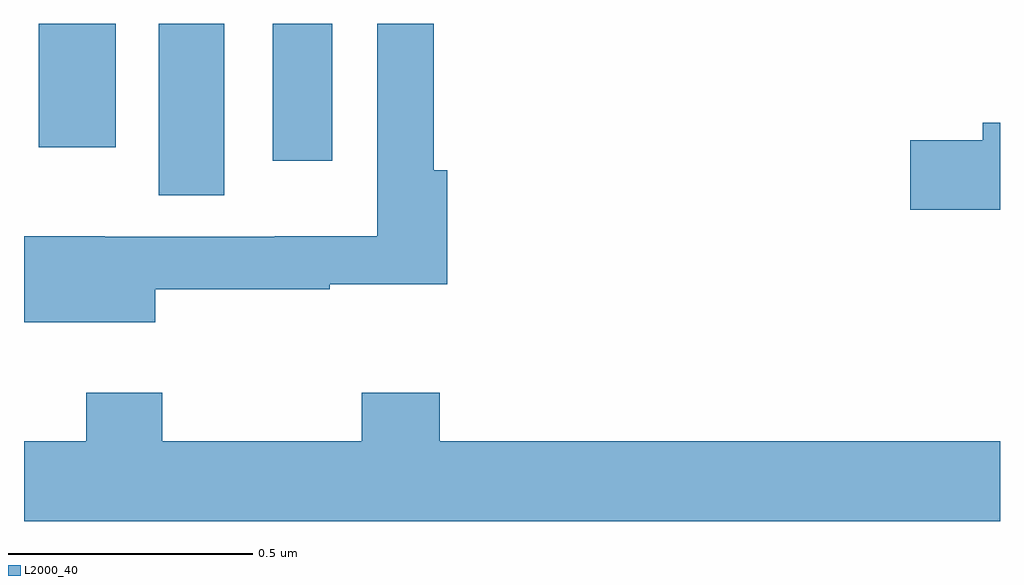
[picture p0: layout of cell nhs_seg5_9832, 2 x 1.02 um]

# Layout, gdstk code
import gdstk
lib = gdstk.Library(unit=1e-6, precision=1e-09)
def R(c, l, rs):  # rectangles x0, y0, x1, y1
    for r in rs: c.add(gdstk.rectangle(r[:2], r[2:], *l))
def P(c, l, *ps):  # polygons
    for p in ps: c.add(gdstk.Polygon(p, *l))
L2000_40 = (2000, 40)

nhs_seg5_9832 = lib.new_cell('nhs_seg5_9832')
R(nhs_seg5_9832, L2000_40, [(239.276,837.448,239.41,837.799), (239.51,837.519,239.632,837.799), (239.03,837.546,239.188,837.799)])
P(nhs_seg5_9832, L2000_40, [(239.269,837.255),(239.627,837.255),(239.627,837.265),(239.867,837.265),(239.867,837.499),(239.84,837.499),(239.84,837.799),(239.724,837.799),(239.724,837.364),(239.514,837.364),(239.514,837.363),(239.165,837.363),(239.165,837.364),(239,837.364),(239,837.188),(239.269,837.188)],
  [(241,837.596),(240.965,837.596),(240.965,837.56),(240.816,837.56),(240.816,837.418),(241,837.418)],
  [(241,836.944),(239.852,836.944),(239.852,837.043),(239.692,837.043),(239.692,836.944),(239.283,836.944),(239.283,837.043),(239.128,837.043),(239.128,836.944),(239,836.944),(239,836.78),(241,836.78)])

lib.write_gds('nhs_seg5_9832.gds')
